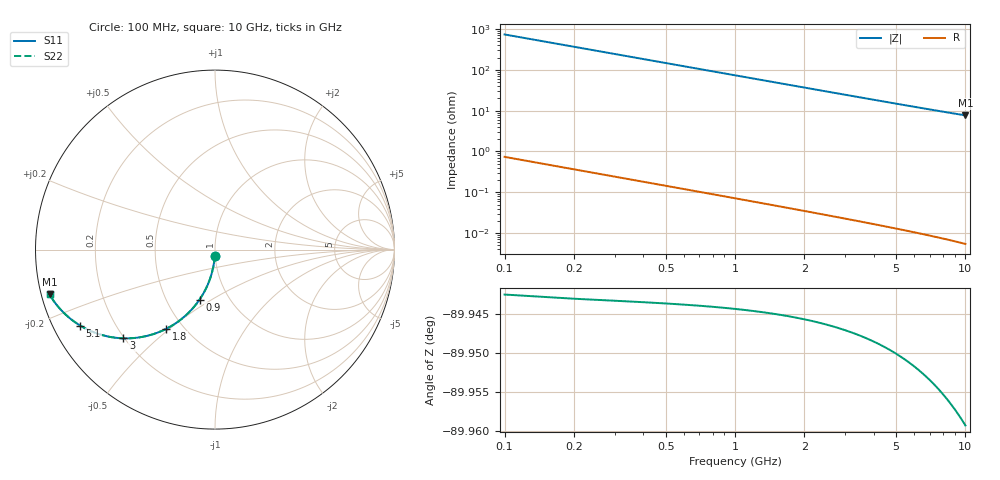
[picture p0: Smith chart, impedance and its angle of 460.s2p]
# Hz S RI R 50.00
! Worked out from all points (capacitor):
!   100 points, 100 MHz to 10 GHz, reference 50 ohm
!   read as one part in shunt: C = 2.16 pF near 100 MHz
!   lowest |Z| = 7.67 ohm at 10 GHz (marker M1)
!   S11 on the Smith chart (normalised r, x): 100 MHz: 1.00, -0.07; 900 MHz: 0.73, -0.44; 1.8 GHz: 0.40, -0.49; 3 GHz: 0.20, -0.39; 5.1 GHz: 0.08, -0.26; 10 GHz: 0.02, -0.13
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1e8  -0.0011 -0.0338  0.9987 -0.0341  0.9987 -0.0341  -0.0011 -0.0338
2e8  -0.00458 -0.0673  0.9952 -0.068  0.9952 -0.068  -0.00458 -0.0673
3e8  -0.0103 -0.1004  0.9895 -0.1014  0.9895 -0.1014  -0.0103 -0.1004
4e8  -0.0182 -0.1328  0.9816 -0.1342  0.9816 -0.1342  -0.0182 -0.1328
5e8  -0.0282 -0.1643  0.9717 -0.166  0.9717 -0.166  -0.0282 -0.1643
6e8  -0.04 -0.1948  0.9598 -0.1968  0.9598 -0.1968  -0.04 -0.1948
7e8  -0.0537 -0.224  0.9461 -0.2263  0.9461 -0.2263  -0.0537 -0.224
9e8  -0.0858 -0.2782  0.9141 -0.2811  0.9141 -0.2811  -0.0858 -0.2782
1.1e9  -0.1229 -0.3261  0.8769 -0.3297  0.8769 -0.3297  -0.1229 -0.3261
1.3e9  -0.1636 -0.3673  0.8362 -0.3717  0.8362 -0.3717  -0.1636 -0.3673
1.5e9  -0.2066 -0.4019  0.7932 -0.4069  0.7932 -0.4069  -0.2066 -0.4019
1.8e9  -0.2727 -0.4419  0.7271 -0.4479  0.7271 -0.4479  -0.2727 -0.4419
2.1e9  -0.3379 -0.469  0.6619 -0.476  0.6619 -0.476  -0.3379 -0.469
2.4e9  -0.4 -0.4854  0.5998 -0.4934  0.5998 -0.4934  -0.4 -0.4854
3e9  -0.5102 -0.4944  0.4895 -0.5044  0.4895 -0.5044  -0.5102 -0.4944
3.4e9  -0.5724 -0.4885  0.4273 -0.4999  0.4273 -0.4999  -0.5724 -0.4885
4.2e9  -0.6716 -0.462  0.3281 -0.4761  0.3281 -0.4761  -0.6716 -0.462
5.1e9  -0.7513 -0.4231  0.2484 -0.4402  0.2484 -0.4402  -0.7513 -0.4231
5.9e9  -0.802 -0.3879  0.1976 -0.4078  0.1976 -0.4078  -0.802 -0.3879
6.7e9  -0.8396 -0.3549  0.1599 -0.3776  0.1599 -0.3776  -0.8396 -0.3549
8.4e9  -0.8922 -0.2948  0.1072 -0.3235  0.1072 -0.3235  -0.8922 -0.2948
1e10  -0.9219 -0.2498  0.0772 -0.2843  0.0772 -0.2843  -0.9219 -0.2498
